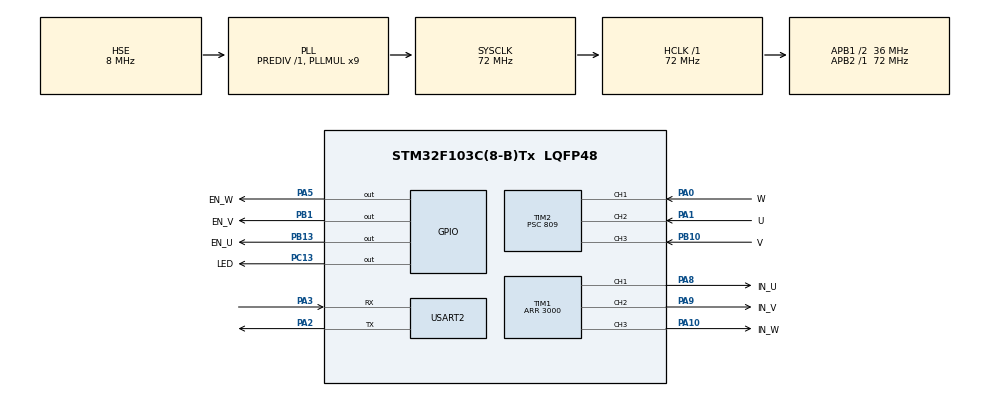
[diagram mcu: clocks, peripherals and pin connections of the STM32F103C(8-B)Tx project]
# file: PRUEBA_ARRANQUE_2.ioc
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Dma.Request0=USART2_TX
Dma.USART2_TX.0.Direction=DMA_MEMORY_TO_PERIPH
Dma.USART2_TX.0.Instance=DMA1_Channel7
Dma.USART2_TX.0.MemDataAlignment=DMA_MDATAALIGN_BYTE
Dma.USART2_TX.0.MemInc=DMA_MINC_ENABLE
Dma.USART2_TX.0.Mode=DMA_NORMAL
Dma.USART2_TX.0.PeriphDataAlignment=DMA_PDATAALIGN_BYTE
Dma.USART2_TX.0.PeriphInc=DMA_PINC_DISABLE
Dma.USART2_TX.0.Priority=DMA_PRIORITY_MEDIUM
Mcu.Family=STM32F1
Mcu.Name=STM32F103C(8-B)Tx
Mcu.Package=LQFP48
NVIC.DMA1_Channel7_IRQn=true\:0\:0\:false\:false\:true\:false\:true\:true
NVIC.PriorityGroup=NVIC_PRIORITYGROUP_4
NVIC.TIM2_IRQn=true\:0\:0\:false\:false\:true\:true\:true\:true
NVIC.TIM3_IRQn=true\:0\:0\:false\:false\:true\:true\:true\:true
NVIC.TIM4_IRQn=true\:1\:0\:true\:false\:true\:true\:true\:true
NVIC.USART2_IRQn=true\:0\:0\:true\:false\:true\:true\:true\:true
PA0-WKUP.GPIO_Label=W
PA0-WKUP.GPIO_PuPd=GPIO_PULLUP
PA0-WKUP.Signal=S_TIM2_CH1_ETR
PA1.GPIO_Label=U
PA1.GPIO_PuPd=GPIO_PULLUP
PA1.Signal=S_TIM2_CH2
PA10.GPIO_Label=IN_W
PA10.Signal=S_TIM1_CH3
PA13.Mode=Serial_Wire
PA13.Signal=SYS_JTMS-SWDIO
PA14.Mode=Serial_Wire
PA14.Signal=SYS_JTCK-SWCLK
PA2.Mode=Asynchronous
PA2.Signal=USART2_TX
PA3.GPIO_PuPd=GPIO_PULLDOWN
PA3.Mode=Asynchronous
PA3.Signal=USART2_RX
PA5.GPIO_Label=EN_W
PA5.GPIO_ModeDefaultOutputPP=GPIO_MODE_OUTPUT_PP
PA5.GPIO_PuPd=GPIO_NOPULL
PA5.GPIO_Speed=GPIO_SPEED_FREQ_LOW
PA5.Signal=GPIO_Output
PA8.GPIO_Label=IN_U
PA8.Signal=S_TIM1_CH1
PA9.GPIO_Label=IN_V
PA9.Signal=S_TIM1_CH2
PB1.GPIO_Label=EN_V
PB1.GPIO_ModeDefaultOutputPP=GPIO_MODE_OUTPUT_PP
PB1.GPIO_PuPd=GPIO_NOPULL
PB1.GPIO_Speed=GPIO_SPEED_FREQ_LOW
PB1.Signal=GPIO_Output
PB10.GPIO_Label=V
PB10.GPIO_PuPd=GPIO_PULLUP
PB10.Signal=S_TIM2_CH3
PB13.GPIO_Label=EN_U
PB13.GPIO_ModeDefaultOutputPP=GPIO_MODE_OUTPUT_PP
PB13.GPIO_PuPd=GPIO_NOPULL
PB13.GPIO_Speed=GPIO_SPEED_FREQ_LOW
PB13.Signal=GPIO_Output
PC13-TAMPER-RTC.GPIO_Label=LED
PC13-TAMPER-RTC.Signal=GPIO_Output
PD0-OSC_IN.Mode=HSE-External-Oscillator
PD0-OSC_IN.Signal=RCC_OSC_IN
PD1-OSC_OUT.Mode=HSE-External-Oscillator
PD1-OSC_OUT.Signal=RCC_OSC_OUT
ProjectManager.HeapSize=0x200
ProjectManager.StackSize=0x400
ProjectManager.TargetToolchain=STM32CubeIDE
RCC.ADCPresc=RCC_ADCPCLK2_DIV8
RCC.AHBFreq_Value=72000000
RCC.APB1CLKDivider=RCC_HCLK_DIV2
RCC.APB1Freq_Value=36000000
RCC.APB1TimFreq_Value=72000000
RCC.APB2Freq_Value=72000000
RCC.APB2TimFreq_Value=72000000
RCC.HCLKFreq_Value=72000000
RCC.PLLMUL=RCC_PLL_MUL9
RCC.PLLSourceVirtual=RCC_PLLSOURCE_HSE
RCC.SYSCLKFreq_VALUE=72000000
RCC.SYSCLKSource=RCC_SYSCLKSOURCE_PLLCLK
RCC.USBFreq_Value=72000000
SH.S_TIM1_CH1.0=TIM1_CH1,PWM Generation1 CH1
SH.S_TIM1_CH2.0=TIM1_CH2,PWM Generation2 CH2
SH.S_TIM1_CH3.0=TIM1_CH3,PWM Generation3 CH3
SH.S_TIM2_CH1_ETR.0=TIM2_CH1,Input_Capture1_from_TI1
SH.S_TIM2_CH2.0=TIM2_CH2,Input_Capture2_from_TI2
SH.S_TIM2_CH3.0=TIM2_CH3,Input_Capture3_from_TI3
TIM1.AutoReloadPreload=TIM_AUTORELOAD_PRELOAD_ENABLE
TIM1.Channel-PWM\ Generation1\ CH1=TIM_CHANNEL_1
TIM1.Channel-PWM\ Generation2\ CH2=TIM_CHANNEL_2
TIM1.Channel-PWM\ Generation3\ CH3=TIM_CHANNEL_3
TIM1.CounterMode=TIM_COUNTERMODE_CENTERALIGNED1
TIM1.Period=3000
TIM2.Channel-Input_Capture1_from_TI1=TIM_CHANNEL_1
TIM2.Channel-Input_Capture2_from_TI2=TIM_CHANNEL_2
TIM2.Channel-Input_Capture3_from_TI3=TIM_CHANNEL_3
TIM2.ICFilter_CH1=15
TIM2.ICFilter_CH2=15
TIM2.ICFilter_CH3=15
TIM2.ICPolarity_CH1=TIM_INPUTCHANNELPOLARITY_FALLING
TIM2.ICPolarity_CH2=TIM_INPUTCHANNELPOLARITY_FALLING
TIM2.ICPolarity_CH3=TIM_INPUTCHANNELPOLARITY_FALLING
TIM2.ICPrescaler-Input_Capture1_from_TI1=TIM_ICPSC_DIV1
TIM2.ICPrescaler-Input_Capture2_from_TI2=TIM_ICPSC_DIV1
TIM2.ICPrescaler-Input_Capture3_from_TI3=TIM_ICPSC_DIV1
TIM2.Prescaler=809
TIM3.Channel-Output\ Compare1\ No\ Output=TIM_CHANNEL_1
TIM3.Prescaler=71
TIM4.AutoReloadPreload=TIM_AUTORELOAD_PRELOAD_ENABLE
TIM4.Channel-Output\ Compare1\ No\ Output=TIM_CHANNEL_1
TIM4.Channel-Output\ Compare2\ No\ Output=TIM_CHANNEL_2
TIM4.Channel-Output\ Compare3\ No\ Output=TIM_CHANNEL_3
TIM4.ClockDivision=TIM_CLOCKDIVISION_DIV1
TIM4.OC1Preload=ENABLE
TIM4.Period=19999
TIM4.Prescaler=7199
USART2.VirtualMode=VM_ASYNC
VP_CRC_VS_CRC.Mode=CRC_Activate
VP_TIM1_VS_ClockSourceINT.Mode=Internal
VP_TIM2_VS_ClockSourceINT.Mode=Internal
VP_TIM3_VS_ClockSourceINT.Mode=Internal
VP_TIM3_VS_no_output1.Mode=Output Compare1 No Output
VP_TIM4_VS_ClockSourceINT.Mode=Internal
VP_TIM4_VS_no_output1.Mode=Output Compare1 No Output
VP_TIM4_VS_no_output2.Mode=Output Compare2 No Output
VP_TIM4_VS_no_output3.Mode=Output Compare3 No Output
board=custom

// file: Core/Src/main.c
/* USER CODE BEGIN Header */
/**
  ******************************************************************************
  * @file           : main.c
  * @brief          : Main program body
  ******************************************************************************
  * @attention
  *
  * Copyright (c) 2025 STMicroelectronics.
  * All rights reserved.
  *
  * This software is licensed under terms that can be found in the LICENSE file
  * in the root directory of this software component.
  * If no LICENSE file comes with this software, it is provided AS-IS.
  *
  ******************************************************************************
  */
/* USER CODE END Header */
#include "main.h"

CRC_HandleTypeDef hcrc;

TIM_HandleTypeDef htim1;
TIM_HandleTypeDef htim2;
TIM_HandleTypeDef htim3;
TIM_HandleTypeDef htim4;

UART_HandleTypeDef huart2;
DMA_HandleTypeDef hdma_usart2_tx;

/* USER CODE BEGIN PV */

 long map(long x, long in_min, long in_max, long out_min, long out_max) {
	return (x - in_min) * (out_max - out_min) / (in_max - in_min) + out_min;
}

const uint32_t CPU_clock = 72000000;
/* USER CODE END PV */

void SystemClock_Config(void);
static void MX_GPIO_Init(void);
static void MX_DMA_Init(void);
static void MX_TIM4_Init(void);
static void MX_USART2_UART_Init(void);
static void MX_TIM2_Init(void);
static void MX_TIM1_Init(void);
static void MX_CRC_Init(void);
static void MX_TIM3_Init(void);

/* USER CODE BEGIN 0 */
int _write(int file, char *ptr, int len){
	int i = 0;
	for(i = 0; i < len; i++){
		ITM_SendChar((*ptr++));
	}
	return len;
}
volatile uint8_t count = 0;
/* USER CODE END 0 */

int main(void)
{

  /* MCU Configuration--------------------------------------------------------*/

  /* Reset of all peripherals, Initializes the Flash interface and the Systick. */
  HAL_Init();

  /* Configure the system clock */
  SystemClock_Config();

  /* Initialize all configured peripherals */
  MX_GPIO_Init();
  MX_DMA_Init();
  MX_TIM4_Init();
  MX_USART2_UART_Init();
  MX_TIM2_Init();
  MX_TIM1_Init();
  MX_CRC_Init();
  MX_TIM3_Init();
  /* USER CODE BEGIN 2 */
  HAL_GPIO_WritePin(LED_GPIO_Port, LED_Pin, GPIO_PIN_RESET);
  TIM1->PSC = 0;
  TIM2->PSC = 399;
  HAL_TIM_IC_Start_IT(&htim2, TIM_CHANNEL_1);
  HAL_TIM_IC_Start_IT(&htim2, TIM_CHANNEL_2);
  HAL_TIM_IC_Start_IT(&htim2, TIM_CHANNEL_3);

  motor_detection();

  /* USER CODE END 2 */

  /* Infinite loop */
  /* USER CODE BEGIN WHILE */
  while (1)
  {
	  handleState();
	  check_motor_status();

    /* USER CODE END WHILE */

  }
}

void SystemClock_Config(void)
{
  RCC_OscInitTypeDef RCC_OscInitStruct = {0};
  RCC_ClkInitTypeDef RCC_ClkInitStruct = {0};

  /** Initializes the RCC Oscillators according to the specified parameters
  * in the RCC_OscInitTypeDef structure.
  */
  RCC_OscInitStruct.OscillatorType = RCC_OSCILLATORTYPE_HSE;
  RCC_OscInitStruct.HSEState = RCC_HSE_ON;
  RCC_OscInitStruct.HSEPredivValue = RCC_HSE_PREDIV_DIV1;
  RCC_OscInitStruct.HSIState = RCC_HSI_ON;
  RCC_OscInitStruct.PLL.PLLState = RCC_PLL_ON;
  RCC_OscInitStruct.PLL.PLLSource = RCC_PLLSOURCE_HSE;
  RCC_OscInitStruct.PLL.PLLMUL = RCC_PLL_MUL9;
  if (HAL_RCC_OscConfig(&RCC_OscInitStruct) != HAL_OK)
  {
    Error_Handler();
  }

  /** Initializes the CPU, AHB and APB buses clocks
  */
  RCC_ClkInitStruct.ClockType = RCC_CLOCKTYPE_HCLK|RCC_CLOCKTYPE_SYSCLK
                              |RCC_CLOCKTYPE_PCLK1|RCC_CLOCKTYPE_PCLK2;
  RCC_ClkInitStruct.SYSCLKSource = RCC_SYSCLKSOURCE_PLLCLK;
  RCC_ClkInitStruct.AHBCLKDivider = RCC_SYSCLK_DIV1;
  RCC_ClkInitStruct.APB1CLKDivider = RCC_HCLK_DIV2;
  RCC_ClkInitStruct.APB2CLKDivider = RCC_HCLK_DIV1;

  if (HAL_RCC_ClockConfig(&RCC_ClkInitStruct, FLASH_LATENCY_2) != HAL_OK)
  {
    Error_Handler();
  }
}

static void MX_CRC_Init(void)
{

  hcrc.Instance = CRC;
  if (HAL_CRC_Init(&hcrc) != HAL_OK)
  {
    Error_Handler();
  }

}

static void MX_TIM1_Init(void)
{

  TIM_ClockConfigTypeDef sClockSourceConfig = {0};
  TIM_MasterConfigTypeDef sMasterConfig = {0};
  TIM_OC_InitTypeDef sConfigOC = {0};
  TIM_BreakDeadTimeConfigTypeDef sBreakDeadTimeConfig = {0};

  htim1.Instance = TIM1;
  htim1.Init.Prescaler = 0;
  htim1.Init.CounterMode = TIM_COUNTERMODE_CENTERALIGNED1;
  htim1.Init.Period = 3000;
  htim1.Init.ClockDivision = TIM_CLOCKDIVISION_DIV1;
  htim1.Init.RepetitionCounter = 0;
  htim1.Init.AutoReloadPreload = TIM_AUTORELOAD_PRELOAD_ENABLE;
  if (HAL_TIM_Base_Init(&htim1) != HAL_OK)
  {
    Error_Handler();
  }
  sClockSourceConfig.ClockSource = TIM_CLOCKSOURCE_INTERNAL;
  if (HAL_TIM_ConfigClockSource(&htim1, &sClockSourceConfig) != HAL_OK)
  {
    Error_Handler();
  }
  if (HAL_TIM_PWM_Init(&htim1) != HAL_OK)
  {
    Error_Handler();
  }
  sMasterConfig.MasterOutputTrigger = TIM_TRGO_RESET;
  sMasterConfig.MasterSlaveMode = TIM_MASTERSLAVEMODE_DISABLE;
  if (HAL_TIMEx_MasterConfigSynchronization(&htim1, &sMasterConfig) != HAL_OK)
  {
    Error_Handler();
  }
  sConfigOC.OCMode = TIM_OCMODE_PWM1;
  sConfigOC.Pulse = 0;
  sConfigOC.OCPolarity = TIM_OCPOLARITY_HIGH;
  sConfigOC.OCNPolarity = TIM_OCNPOLARITY_HIGH;
  sConfigOC.OCFastMode = TIM_OCFAST_DISABLE;
  sConfigOC.OCIdleState = TIM_OCIDLESTATE_RESET;
  sConfigOC.OCNIdleState = TIM_OCNIDLESTATE_RESET;
  if (HAL_TIM_PWM_ConfigChannel(&htim1, &sConfigOC, TIM_CHANNEL_1) != HAL_OK)
  {
    Error_Handler();
  }
  if (HAL_TIM_PWM_ConfigChannel(&htim1, &sConfigOC, TIM_CHANNEL_2) != HAL_OK)
  {
    Error_Handler();
  }
  if (HAL_TIM_PWM_ConfigChannel(&htim1, &sConfigOC, TIM_CHANNEL_3) != HAL_OK)
  {
    Error_Handler();
  }
  sBreakDeadTimeConfig.OffStateRunMode = TIM_OSSR_DISABLE;
  sBreakDeadTimeConfig.OffStateIDLEMode = TIM_OSSI_DISABLE;
  sBreakDeadTimeConfig.LockLevel = TIM_LOCKLEVEL_OFF;
  sBreakDeadTimeConfig.DeadTime = 0;
  sBreakDeadTimeConfig.BreakState = TIM_BREAK_DISABLE;
  sBreakDeadTimeConfig.BreakPolarity = TIM_BREAKPOLARITY_HIGH;
  sBreakDeadTimeConfig.AutomaticOutput = TIM_AUTOMATICOUTPUT_DISABLE;
  if (HAL_TIMEx_ConfigBreakDeadTime(&htim1, &sBreakDeadTimeConfig) != HAL_OK)
  {
    Error_Handler();
  }
  HAL_TIM_MspPostInit(&htim1);

}

static void MX_TIM2_Init(void)
{

  TIM_ClockConfigTypeDef sClockSourceConfig = {0};
  TIM_MasterConfigTypeDef sMasterConfig = {0};
  TIM_IC_InitTypeDef sConfigIC = {0};

  htim2.Instance = TIM2;
  htim2.Init.Prescaler = 809;
  htim2.Init.CounterMode = TIM_COUNTERMODE_UP;
  htim2.Init.Period = 65535;
  htim2.Init.ClockDivision = TIM_CLOCKDIVISION_DIV1;
  htim2.Init.AutoReloadPreload = TIM_AUTORELOAD_PRELOAD_DISABLE;
  if (HAL_TIM_Base_Init(&htim2) != HAL_OK)
  {
    Error_Handler();
  }
  sClockSourceConfig.ClockSource = TIM_CLOCKSOURCE_INTERNAL;
  if (HAL_TIM_ConfigClockSource(&htim2, &sClockSourceConfig) != HAL_OK)
  {
    Error_Handler();
  }
  if (HAL_TIM_IC_Init(&htim2) != HAL_OK)
  {
    Error_Handler();
  }
  sMasterConfig.MasterOutputTrigger = TIM_TRGO_RESET;
  sMasterConfig.MasterSlaveMode = TIM_MASTERSLAVEMODE_DISABLE;
  if (HAL_TIMEx_MasterConfigSynchronization(&htim2, &sMasterConfig) != HAL_OK)
  {
    Error_Handler();
  }
  sConfigIC.ICPolarity = TIM_INPUTCHANNELPOLARITY_FALLING;
  sConfigIC.ICSelection = TIM_ICSELECTION_DIRECTTI;
  sConfigIC.ICPrescaler = TIM_ICPSC_DIV1;
  sConfigIC.ICFilter = 15;
  if (HAL_TIM_IC_ConfigChannel(&htim2, &sConfigIC, TIM_CHANNEL_1) != HAL_OK)
  {
    Error_Handler();
  }
  if (HAL_TIM_IC_ConfigChannel(&htim2, &sConfigIC, TIM_CHANNEL_2) != HAL_OK)
  {
    Error_Handler();
  }
  if (HAL_TIM_IC_ConfigChannel(&htim2, &sConfigIC, TIM_CHANNEL_3) != HAL_OK)
  {
    Error_Handler();
  }

}

static void MX_TIM3_Init(void)
{

  TIM_ClockConfigTypeDef sClockSourceConfig = {0};
  TIM_MasterConfigTypeDef sMasterConfig = {0};
  TIM_OC_InitTypeDef sConfigOC = {0};

  htim3.Instance = TIM3;
  htim3.Init.Prescaler = 71;
  htim3.Init.CounterMode = TIM_COUNTERMODE_UP;
  htim3.Init.Period = 65535;
  htim3.Init.ClockDivision = TIM_CLOCKDIVISION_DIV1;
  htim3.Init.AutoReloadPreload = TIM_AUTORELOAD_PRELOAD_DISABLE;
  if (HAL_TIM_Base_Init(&htim3) != HAL_OK)
  {
    Error_Handler();
  }
  sClockSourceConfig.ClockSource = TIM_CLOCKSOURCE_INTERNAL;
  if (HAL_TIM_ConfigClockSource(&htim3, &sClockSourceConfig) != HAL_OK)
  {
    Error_Handler();
  }
  if (HAL_TIM_OC_Init(&htim3) != HAL_OK)
  {
    Error_Handler();
  }
  sMasterConfig.MasterOutputTrigger = TIM_TRGO_RESET;
  sMasterConfig.MasterSlaveMode = TIM_MASTERSLAVEMODE_DISABLE;
  if (HAL_TIMEx_MasterConfigSynchronization(&htim3, &sMasterConfig) != HAL_OK)
  {
    Error_Handler();
  }
  sConfigOC.OCMode = TIM_OCMODE_TIMING;
  sConfigOC.Pulse = 0;
  sConfigOC.OCPolarity = TIM_OCPOLARITY_HIGH;
  sConfigOC.OCFastMode = TIM_OCFAST_DISABLE;
  if (HAL_TIM_OC_ConfigChannel(&htim3, &sConfigOC, TIM_CHANNEL_1) != HAL_OK)
  {
    Error_Handler();
  }

}

static void MX_TIM4_Init(void)
{

  TIM_ClockConfigTypeDef sClockSourceConfig = {0};
  TIM_MasterConfigTypeDef sMasterConfig = {0};
  TIM_OC_InitTypeDef sConfigOC = {0};

  htim4.Instance = TIM4;
  htim4.Init.Prescaler = 7199;
  htim4.Init.CounterMode = TIM_COUNTERMODE_UP;
  htim4.Init.Period = 19999;
  htim4.Init.ClockDivision = TIM_CLOCKDIVISION_DIV1;
  htim4.Init.AutoReloadPreload = TIM_AUTORELOAD_PRELOAD_ENABLE;
  if (HAL_TIM_Base_Init(&htim4) != HAL_OK)
  {
    Error_Handler();
  }
  sClockSourceConfig.ClockSource = TIM_CLOCKSOURCE_INTERNAL;
  if (HAL_TIM_ConfigClockSource(&htim4, &sClockSourceConfig) != HAL_OK)
  {
    Error_Handler();
  }
  if (HAL_TIM_OC_Init(&htim4) != HAL_OK)
  {
    Error_Handler();
  }
  sMasterConfig.MasterOutputTrigger = TIM_TRGO_RESET;
  sMasterConfig.MasterSlaveMode = TIM_MASTERSLAVEMODE_DISABLE;
  if (HAL_TIMEx_MasterConfigSynchronization(&htim4, &sMasterConfig) != HAL_OK)
  {
    Error_Handler();
  }
  sConfigOC.OCMode = TIM_OCMODE_TIMING;
  sConfigOC.Pulse = 0;
  sConfigOC.OCPolarity = TIM_OCPOLARITY_HIGH;
  sConfigOC.OCFastMode = TIM_OCFAST_DISABLE;
  if (HAL_TIM_OC_ConfigChannel(&htim4, &sConfigOC, TIM_CHANNEL_1) != HAL_OK)
  {
    Error_Handler();
  }
  __HAL_TIM_ENABLE_OCxPRELOAD(&htim4, TIM_CHANNEL_1);
  if (HAL_TIM_OC_ConfigChannel(&htim4, &sConfigOC, TIM_CHANNEL_2) != HAL_OK)
  {
    Error_Handler();
  }
  if (HAL_TIM_OC_ConfigChannel(&htim4, &sConfigOC, TIM_CHANNEL_3) != HAL_OK)
  {
    Error_Handler();
  }

}

static void MX_USART2_UART_Init(void)
{

  huart2.Instance = USART2;
  huart2.Init.BaudRate = 115200;
  huart2.Init.WordLength = UART_WORDLENGTH_8B;
  huart2.Init.StopBits = UART_STOPBITS_1;
  huart2.Init.Parity = UART_PARITY_NONE;
  huart2.Init.Mode = UART_MODE_TX_RX;
  huart2.Init.HwFlowCtl = UART_HWCONTROL_NONE;
  huart2.Init.OverSampling = UART_OVERSAMPLING_16;
  if (HAL_UART_Init(&huart2) != HAL_OK)
  {
    Error_Handler();
  }

}

static void MX_DMA_Init(void)
{

  /* DMA controller clock enable */
  __HAL_RCC_DMA1_CLK_ENABLE();

  /* DMA interrupt init */
  /* DMA1_Channel7_IRQn interrupt configuration */
  HAL_NVIC_SetPriority(DMA1_Channel7_IRQn, 0, 0);
  HAL_NVIC_EnableIRQ(DMA1_Channel7_IRQn);

}

static void MX_GPIO_Init(void)
{
  GPIO_InitTypeDef GPIO_InitStruct = {0};

  /* GPIO Ports Clock Enable */
  __HAL_RCC_GPIOC_CLK_ENABLE();
  __HAL_RCC_GPIOD_CLK_ENABLE();
  __HAL_RCC_GPIOA_CLK_ENABLE();
  __HAL_RCC_GPIOB_CLK_ENABLE();

  /*Configure GPIO pin Output Level */
  HAL_GPIO_WritePin(LED_GPIO_Port, LED_Pin, GPIO_PIN_RESET);

  /*Configure GPIO pin Output Level */
  HAL_GPIO_WritePin(EN_W_GPIO_Port, EN_W_Pin, GPIO_PIN_RESET);

  /*Configure GPIO pin Output Level */
  HAL_GPIO_WritePin(GPIOB, EN_V_Pin|EN_U_Pin, GPIO_PIN_RESET);

  /*Configure GPIO pin : LED_Pin */
  GPIO_InitStruct.Pin = LED_Pin;
  GPIO_InitStruct.Mode = GPIO_MODE_OUTPUT_PP;
  GPIO_InitStruct.Pull = GPIO_NOPULL;
  GPIO_InitStruct.Speed = GPIO_SPEED_FREQ_LOW;
  HAL_GPIO_Init(LED_GPIO_Port, &GPIO_InitStruct);

  /*Configure GPIO pin : EN_W_Pin */
  GPIO_InitStruct.Pin = EN_W_Pin;
  GPIO_InitStruct.Mode = GPIO_MODE_OUTPUT_PP;
  GPIO_InitStruct.Pull = GPIO_NOPULL;
  GPIO_InitStruct.Speed = GPIO_SPEED_FREQ_LOW;
  HAL_GPIO_Init(EN_W_GPIO_Port, &GPIO_InitStruct);

  /*Configure GPIO pins : EN_V_Pin EN_U_Pin */
  GPIO_InitStruct.Pin = EN_V_Pin|EN_U_Pin;
  GPIO_InitStruct.Mode = GPIO_MODE_OUTPUT_PP;
  GPIO_InitStruct.Pull = GPIO_NOPULL;
  GPIO_InitStruct.Speed = GPIO_SPEED_FREQ_LOW;
  HAL_GPIO_Init(GPIOB, &GPIO_InitStruct);

}

void Error_Handler(void)
{
  __disable_irq();
  while (1)
  {
  }
}
